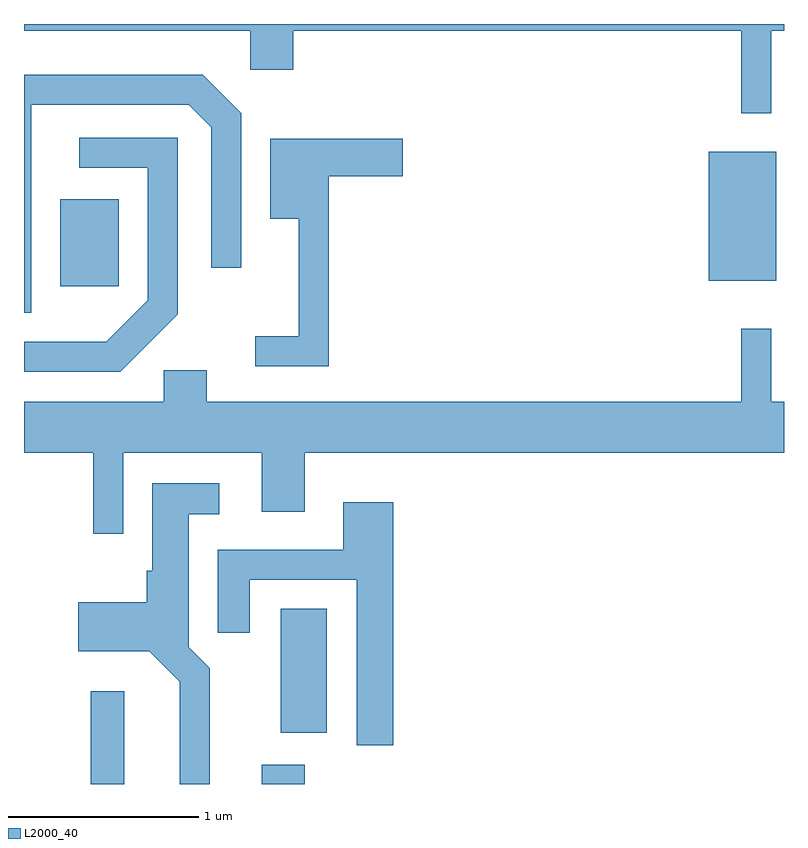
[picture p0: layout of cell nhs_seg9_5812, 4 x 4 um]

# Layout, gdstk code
import gdstk
lib = gdstk.Library(unit=1e-6, precision=1e-09)
def R(c, l, rs):  # rectangles x0, y0, x1, y1
    for r in rs: c.add(gdstk.rectangle(r[:2], r[2:], *l))
def P(c, l, *ps):  # polygons
    for p in ps: c.add(gdstk.Polygon(p, *l))
L2000_40 = (2000, 40)

nhs_seg9_5812 = lib.new_cell('nhs_seg9_5812')
R(nhs_seg9_5812, L2000_40, [(355.961,2074.432,356.139,2074.919), (356.861,2074.432,357.089,2074.534), (356.961,2074.701,357.204,2075.354), (355.801,2077.051,356.109,2077.509), (359.216,2077.081,359.569,2077.759)])
P(nhs_seg9_5812, L2000_40, [(359.544,2078.396),(359.611,2078.396),(359.611,2078.432),(355.611,2078.432),(355.611,2078.396),(356.801,2078.396),(356.801,2078.191),(357.029,2078.191),(357.029,2078.396),(359.386,2078.396),(359.386,2077.963),(359.544,2077.963)],
  [(355.649,2078.006),(356.479,2078.006),(356.596,2077.889),(356.596,2077.148),(356.754,2077.148),(356.754,2077.962),(356.552,2078.164),(355.611,2078.164),(355.611,2076.911),(355.649,2076.911)],
  [(356.419,2076.904),(356.419,2077.834),(355.903,2077.834),(355.903,2077.676),(356.261,2077.676),(356.261,2076.977),(356.044,2076.759),(355.611,2076.759),(355.611,2076.601),(356.117,2076.601)],
  [(357.214,2077.631),(357.604,2077.631),(357.604,2077.829),(356.906,2077.829),(356.906,2077.406),(357.056,2077.406),(357.056,2076.789),(356.828,2076.789),(356.828,2076.631),(357.214,2076.631)],
  [(356.134,2076.176),(356.861,2076.176),(356.861,2075.866),(357.089,2075.866),(357.089,2076.176),(359.611,2076.176),(359.611,2076.444),(359.544,2076.444),(359.544,2076.827),(359.386,2076.827),(359.386,2076.444),(356.574,2076.444),(356.574,2076.609),(356.346,2076.609),(356.346,2076.444),(355.611,2076.444),(355.611,2076.176),(355.976,2076.176),(355.976,2075.748),(356.134,2075.748)],
  [(356.589,2075.042),(356.479,2075.152),(356.479,2075.851),(356.638,2075.851),(356.638,2076.014),(356.286,2076.014),(356.286,2075.554),(356.256,2075.554),(356.256,2075.389),(355.896,2075.389),(355.896,2075.131),(356.269,2075.131),(356.431,2074.969),(356.431,2074.432),(356.589,2074.432)],
  [(357.554,2075.914),(357.291,2075.914),(357.291,2075.664),(356.631,2075.664),(356.631,2075.228),(356.799,2075.228),(356.799,2075.506),(357.361,2075.506),(357.361,2074.636),(357.554,2074.636)])

lib.write_gds('nhs_seg9_5812.gds')
